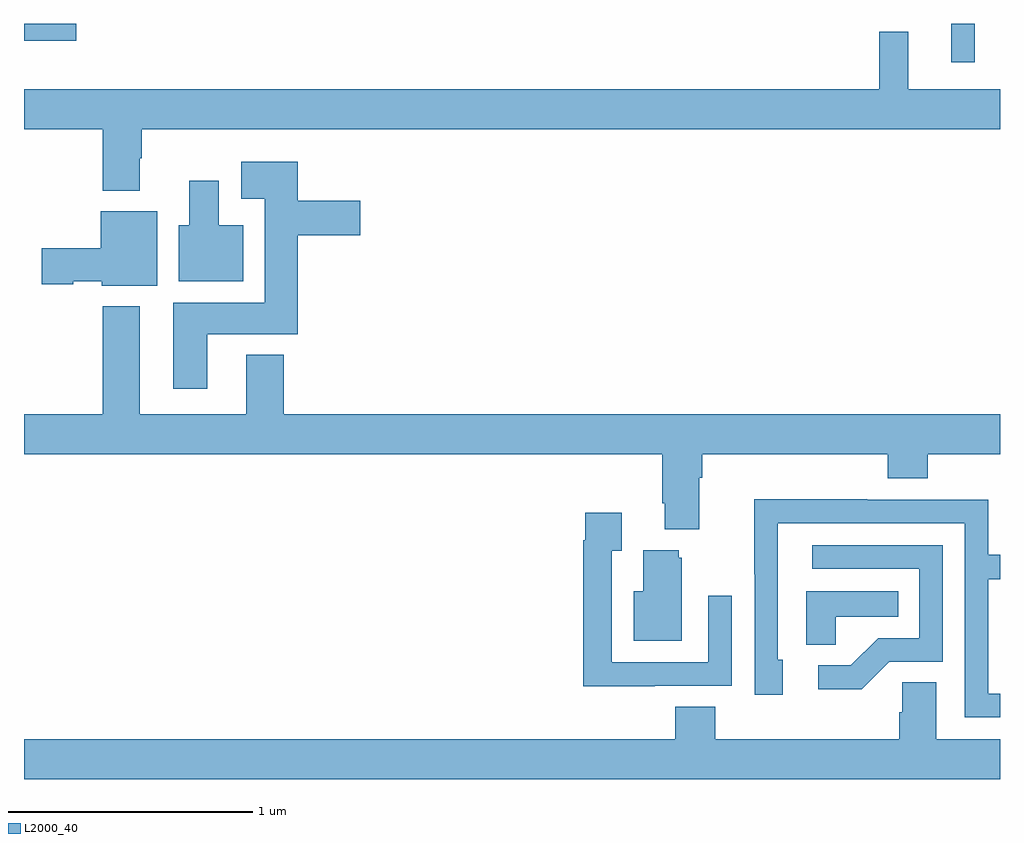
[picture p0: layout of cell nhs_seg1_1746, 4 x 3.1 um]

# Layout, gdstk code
import gdstk
lib = gdstk.Library(unit=1e-6, precision=1e-09)
def R(c, l, rs):  # rectangles x0, y0, x1, y1
    for r in rs: c.add(gdstk.rectangle(r[:2], r[2:], *l))
def P(c, l, *ps):  # polygons
    for p in ps: c.add(gdstk.Polygon(p, *l))
L2000_40 = (2000, 40)

nhs_seg1_1746 = lib.new_cell('nhs_seg1_1746')
R(nhs_seg1_1746, L2000_40, [(210.8,516.042,210.897,516.199), (207,516.131,207.214,516.199)])
P(nhs_seg1_1746, L2000_40, [(207.475,515.648),(207.483,515.648),(207.483,515.768),(211,515.768),(211,515.932),(210.623,515.932),(210.623,516.166),(210.505,516.166),(210.505,515.932),(207,515.932),(207,515.768),(207.323,515.768),(207.323,515.516),(207.475,515.516)],
  [(207.751,514.928),(208.121,514.928),(208.121,515.333),(208.378,515.333),(208.378,515.475),(208.121,515.475),(208.121,515.635),(207.891,515.635),(207.891,515.483),(207.986,515.483),(207.986,515.056),(207.611,515.056),(207.611,514.704),(207.751,514.704)],
  [(207.898,515.374),(207.799,515.374),(207.799,515.557),(207.677,515.557),(207.677,515.374),(207.635,515.374),(207.635,515.144),(207.898,515.144)],
  [(207.547,515.431),(207.314,515.431),(207.314,515.279),(207.072,515.279),(207.072,515.132),(207.201,515.132),(207.201,515.144),(207.318,515.144),(207.318,515.126),(207.547,515.126)],
  [(208.064,514.843),(207.911,514.843),(207.911,514.6),(207.475,514.6),(207.475,515.041),(207.323,515.041),(207.323,514.6),(207,514.6),(207,514.436),(209.615,514.436),(209.615,514.234),(209.627,514.234),(209.627,514.127),(209.767,514.127),(209.767,514.34),(209.78,514.34),(209.78,514.436),(210.539,514.436),(210.539,514.337),(210.704,514.337),(210.704,514.436),(211,514.436),(211,514.6),(208.064,514.6)],
  [(211,513.453),(210.951,513.453),(210.951,513.922),(211,513.922),(211,514.023),(210.951,514.023),(210.951,514.248),(210.455,514.248),(210.455,514.25),(209.992,514.25),(209.992,513.943),(209.994,513.943),(209.994,513.45),(210.109,513.45),(210.109,513.594),(210.09,513.594),(210.09,514.152),(210.855,514.152),(210.855,513.357),(211,513.357)],
  [(209.585,513.486),(209.901,513.486),(209.901,513.856),(209.805,513.856),(209.805,513.582),(209.409,513.582),(209.409,514.039),(209.449,514.039),(209.449,514.195),(209.301,514.195),(209.301,514.082),(209.293,514.082),(209.293,513.485),(209.585,513.485)],
  [(210.546,513.585),(210.765,513.585),(210.765,514.062),(210.231,514.062),(210.231,513.966),(210.669,513.966),(210.669,513.681),(210.5,513.681),(210.389,513.57),(210.255,513.57),(210.255,513.472),(210.433,513.472)],
  [(209.695,514.011),(209.684,514.011),(209.684,514.042),(209.537,514.042),(209.537,513.874),(209.498,513.874),(209.498,513.671),(209.695,513.671)],
  [(210.327,513.77),(210.584,513.77),(210.584,513.874),(210.206,513.874),(210.206,513.655),(210.327,513.655)],
  [(211,513.268),(210.739,513.268),(210.739,513.5),(210.6,513.5),(210.6,513.377),(210.587,513.377),(210.587,513.268),(209.834,513.268),(209.834,513.401),(209.669,513.401),(209.669,513.268),(207,513.268),(207,513.104),(211,513.104)])

lib.write_gds('nhs_seg1_1746.gds')
